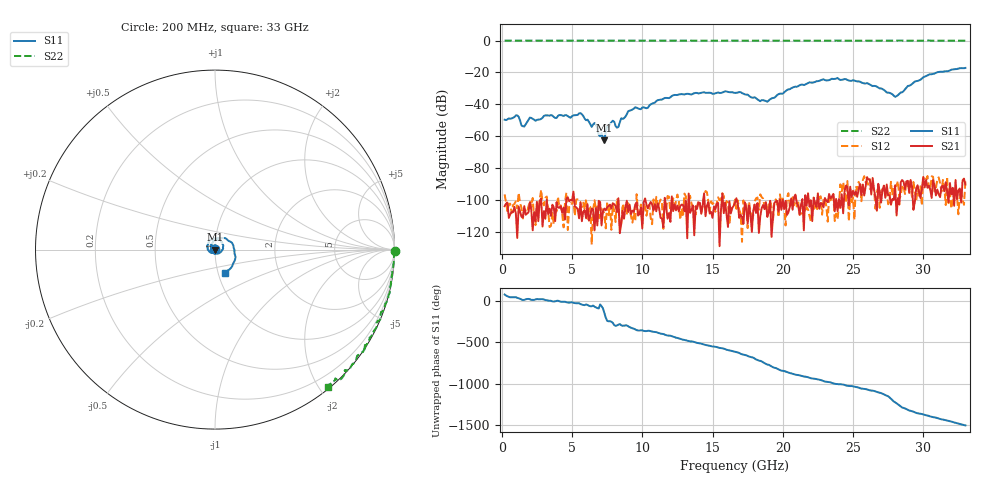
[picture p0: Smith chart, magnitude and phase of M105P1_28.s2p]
# GHZ S RI R 50
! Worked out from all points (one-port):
!   329 points, 200 MHz to 33 GHz, reference 50 ohm
!   lowest |S11| = -62.6 dB at 7.3 GHz (marker M1), VSWR 1.00, Z = 49.9 - j0.0458 ohm
!   |S11| at or under -10 dB: start of sweep to end of sweep
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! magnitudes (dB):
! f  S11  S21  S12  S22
! 200 MHz  -49.6  -103.9  -96.5  0.0
! 1.1 GHz  -46.9  -123.8  -105.2  0.0
! 1.6 GHz  -53.9  -103.8  -105.5  0.0
! 2 GHz  -48.3  -101.5  -100.5  0.0
! 5.7 GHz  -46.2  -113.3  -104.5  0.0
! 6.4 GHz  -54.1  -105.3  -127.9  0.0
! 6.6 GHz  -51.7  -119.1  -100.1  0.0
! 6.9 GHz  -59.1  -100.5  -111.5  0.0
! 7.3 GHz  -62.6  -105.3  -108.8  0.0
! 7.5 GHz  -53.9  -104.6  -100.9  0.0
! 7.9 GHz  -50.2  -102.0  -103.2  0.0
! 8.2 GHz  -54.7  -107.6  -98.9  0.0
! 9 GHz  -44.3  -107.5  -102.0  0.0
! 11.2 GHz  -37.2  -105.3  -102.0  0.0
! 16.6 GHz  -32.8  -101.9  -99.7  -0.1
! 18.9 GHz  -38.4  -110.6  -106.7  0.0
! 22.1 GHz  -26.4  -113.2  -106.2  0.0
! 23.9 GHz  -23.4  -107.0  -112.1  0.0
! 27.6 GHz  -32.8  -97.1  -100.6  0.0
! 28 GHz  -35.3  -90.7  -91.7  0.0
! 30.4 GHz  -21.4  -91.1  -91.5  0.0
! 33 GHz  -17.2  -90.3  -88.3  -0.1
